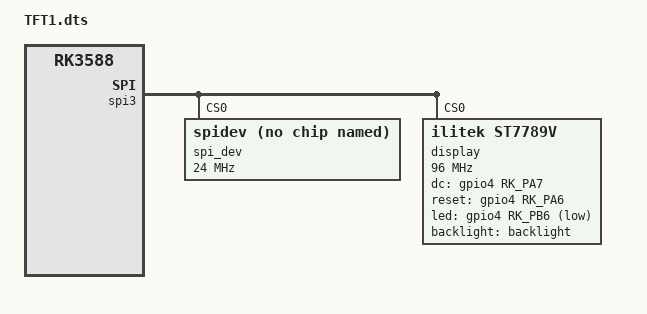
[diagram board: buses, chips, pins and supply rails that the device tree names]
/dts-v1/;
/plugin/;

#include <dt-bindings/gpio/gpio.h>
#include <dt-bindings/pinctrl/rockchip.h>

/ {
        compatible = "rockchip,rk3588";
        fragment@0 {
                target = <&spi3>;

           __overlay__ {
                        status = "okay";
                        #address-cells = <1>;
                        #size-cells = <0>;

                        // 40PIN引脚只预留SPI3 CS0引脚，如果有多个CS信号，可以使用gpio模拟cs 
                        pinctrl-names = "default", "high_speed";
                        pinctrl-0 = <&spi3m1_cs0 &spi3m1_pins>;
                        pinctrl-1 = <&spi3m1_cs0 &spi3m1_pins_hs>;

                        spi_dev@0 {
                                compatible = "rockchip,spidev";
                                reg = <0>; //chip select 0:cs0  1:cs1
                                spi-max-frequency = <24000000>; //spi output clock
                        };

                        display@0{
                                compatible = "ilitek,st7789v"; //匹配驱动程序用
                                reg = <0>;
                                spi-max-frequency = <96000000>;//spi速率
                                dc-gpios = <&gpio4 RK_PA7 GPIO_ACTIVE_HIGH>;#设置dc引脚
                                reset-gpios = <&gpio4 RK_PA6 GPIO_ACTIVE_HIGH>;#设置rst引脚
                                led-gpios = <&gpio4 RK_PB6 GPIO_ACTIVE_LOW>; //GPIO3_A5 back light 101
                                rotation = <0>;//设置屏幕旋转角度 ，不过对我的st7789v好像没啥用
                                backlight = <&backlight>; //背光
                                buswidth = <8>; //数据宽度
                                debug = <0>; //debug级别，数越大，调试等级越高
                                bgr = <0>;//设置是RGB还是BGR
                                fps = <30>;//帧率
                                pinctrl-names = "default";
                pinctrl-0 = <&spi_lcd_cmd_pin &spi_lcd_reset_pin &spi_lcd_light_pin>;#声明使用的引脚
                        };
                };
        };

        fragment@1 {
        target = <&pinctrl>;

        __overlay__ {
            spi_lcd {
                //配置指定引脚的 复用/上下拉/驱动能力 等
                spi_lcd_cmd_pin: spi_lcd_cmd_pin {
                    rockchip,pins = <4 RK_PB6 RK_FUNC_GPIO &pcfg_pull_up_drv_level_1>;
                };
                spi_lcd_reset_pin: spi_lcd_reset_pin {
                    rockchip,pins = <4 RK_PB6 RK_FUNC_GPIO &pcfg_pull_up_drv_level_11>;
                };        
                spi_lcd_light_pin: spi_lcd_light_pin {
                    rockchip,pins = <4 RK_PB6 RK_FUNC_GPIO &pcfg_pull_up_drv_level_1>;
                };
            };

        };

    };
    //关闭其它外部输出
        fragment@2 {
        target = <&route_hdmi>;

        __overlay__ {
            status = "disabled";
        };
    };


    fragment@3 {
        target = <&hdmi_in_vp0>;

        __overlay__ {
            status = "disabled";
        };
    };

    fragment@4 {
        target = <&hdmi_in_vp1>;

        __overlay__ {
            status = "disabled";
        };
    };      

    fragment@5 {
        target = <&hdmi>;

        __overlay__ {
            status = "disabled";
        };
    };
};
